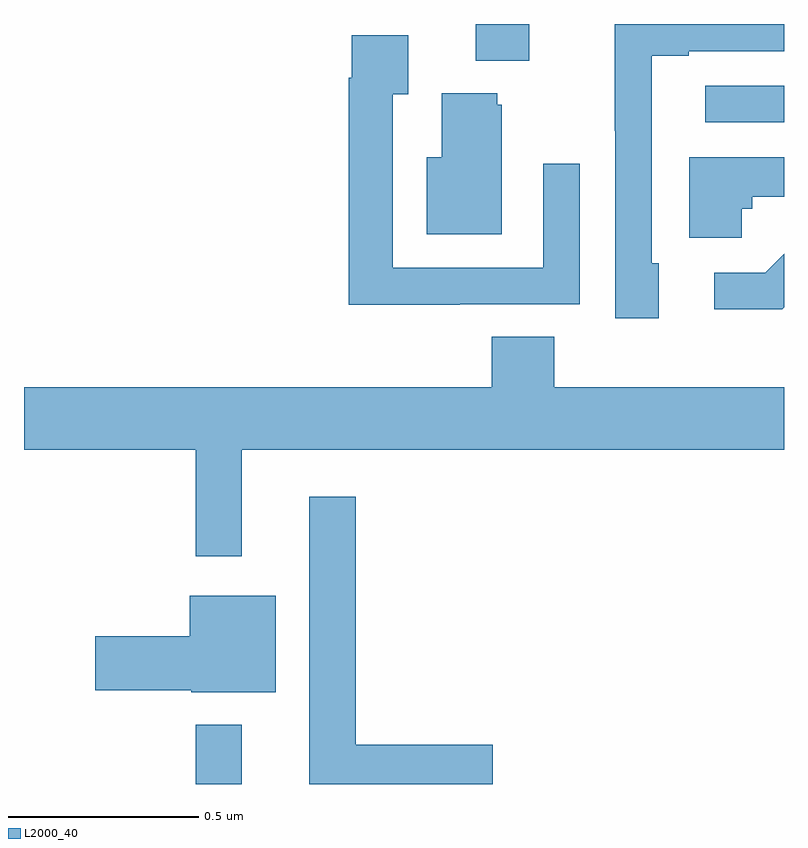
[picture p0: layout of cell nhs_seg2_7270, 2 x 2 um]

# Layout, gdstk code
import gdstk
lib = gdstk.Library(unit=1e-6, precision=1e-09)
def R(c, l, rs):  # rectangles x0, y0, x1, y1
    for r in rs: c.add(gdstk.rectangle(r[:2], r[2:], *l))
def P(c, l, *ps):  # polygons
    for p in ps: c.add(gdstk.Polygon(p, *l))
L2000_40 = (2000, 40)

nhs_seg2_7270 = lib.new_cell('nhs_seg2_7270')
R(nhs_seg2_7270, L2000_40, [(202.452,602.8,202.573,602.956), (203.793,604.542,204,604.638), (203.189,604.703,203.329,604.8)])
P(nhs_seg2_7270, L2000_40, [(203.671,604.17),(203.652,604.17),(203.652,604.716),(203.749,604.716),(203.749,604.728),(204,604.728),(204,604.8),(203.554,604.8),(203.554,604.519),(203.556,604.519),(203.556,604.026),(203.671,604.026)],
  [(203.147,604.062),(203.463,604.062),(203.463,604.432),(203.367,604.432),(203.367,604.158),(202.971,604.158),(202.971,604.615),(203.011,604.615),(203.011,604.771),(202.863,604.771),(202.863,604.658),(202.855,604.658),(202.855,604.061),(203.147,604.061)],
  [(203.257,604.587),(203.246,604.587),(203.246,604.618),(203.099,604.618),(203.099,604.45),(203.06,604.45),(203.06,604.247),(203.257,604.247)],
  [(203.889,604.314),(203.916,604.314),(203.916,604.346),(204,604.346),(204,604.45),(203.75,604.45),(203.75,604.238),(203.889,604.238)],
  [(204,604.054),(204,604.195),(203.951,604.146),(203.817,604.146),(203.817,604.049),(203.995,604.049)],
  [(202.573,603.68),(204,603.68),(204,603.844),(203.396,603.844),(203.396,603.977),(203.231,603.977),(203.231,603.844),(202,603.844),(202,603.68),(202.452,603.68),(202.452,603.399),(202.573,603.399)],
  [(203.233,602.903),(202.873,602.903),(202.873,603.556),(202.751,603.556),(202.751,602.8),(203.233,602.8)],
  [(202.663,603.295),(202.436,603.295),(202.436,603.189),(202.188,603.189),(202.188,603.047),(202.44,603.047),(202.44,603.041),(202.663,603.041)])

lib.write_gds('nhs_seg2_7270.gds')
